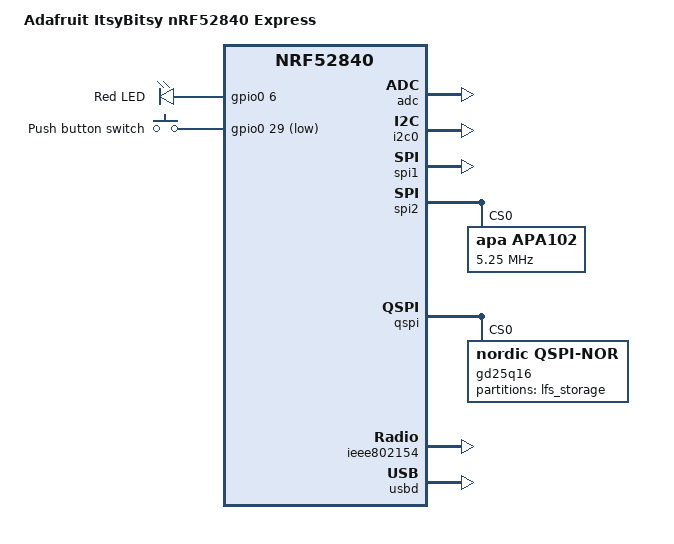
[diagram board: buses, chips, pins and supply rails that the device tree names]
/*
 * Copyright (c) 2022 Embla Flatlandsmo <embla.flatlandsmo@gmail.com>
 *
 * SPDX-License-Identifier: Apache-2.0
 */

/dts-v1/;
#include <nordic/nrf52840_qiaa.dtsi>
#include "adafruit_itsybitsy_nrf52840-pinctrl.dtsi"
#include <zephyr/dt-bindings/input/input-event-codes.h>

/ {
	model = "Adafruit ItsyBitsy nRF52840 Express";
	compatible = "adafruit,itsybitsy-nrf52840";

	chosen {
		zephyr,console = &cdc_acm_uart0;
		zephyr,shell-uart = &cdc_acm_uart0;
		zephyr,uart-mcumgr = &cdc_acm_uart0;
		zephyr,bt-mon-uart = &cdc_acm_uart0;
		zephyr,bt-c2h-uart = &cdc_acm_uart0;
		zephyr,sram = &sram0;
		zephyr,flash = &flash0;
		zephyr,code-partition = &code_partition;
		zephyr,ieee802154 = &ieee802154;
	};

	leds {
		compatible = "gpio-leds";
		led0: led_0 {
			gpios = <&gpio0 6 GPIO_ACTIVE_HIGH>;
			label = "Red LED";
		};
	};

	buttons {
		compatible = "gpio-keys";
		button0: button_0 {
			gpios = <&gpio0 29 (GPIO_PULL_UP | GPIO_ACTIVE_LOW)>;
			label = "Push button switch";
			zephyr,code = <INPUT_KEY_0>;
		};
	};

	/* These aliases are provided for compatibility with samples */
	aliases {
		led0 = &led0;
		sw0 = &button0;
		watchdog0 = &wdt0;
		spi-flash0 = &gd25q16;
	};
};

&adc {
	status = "okay";
};

&uicr {
	gpio-as-nreset;
};

&gpiote {
	status = "okay";
};

&gpio0 {
	status = "okay";
};

&gpio1 {
	status = "okay";
};

&uart0 {
	compatible = "nordic,nrf-uarte";
	current-speed = <115200>;
	status = "disabled";
	pinctrl-0 = <&uart0_default>;
	pinctrl-1 = <&uart0_sleep>;
	pinctrl-names = "default", "sleep";
};

&i2c0 {
	compatible = "nordic,nrf-twi";
	status = "okay";
	pinctrl-0 = <&i2c0_default>;
	pinctrl-1 = <&i2c0_sleep>;
	pinctrl-names = "default", "sleep";
};

&spi1 {
	compatible = "nordic,nrf-spi";
	status = "okay";
	pinctrl-0 = <&spi1_default>;
	pinctrl-1 = <&spi1_sleep>;
	pinctrl-names = "default", "sleep";
};

&spi2 {
	compatible = "nordic,nrf-spi";
	status = "okay";
	pinctrl-0 = <&spi2_default>;
	pinctrl-1 = <&spi2_sleep>;
	pinctrl-names = "default", "sleep";
	apa102: apa102@0 {
		compatible = "apa,apa102";
		reg = <0>;
		spi-max-frequency = <5250000>;
	};
};

&qspi {
	status = "okay";
	pinctrl-0 = <&qspi_default>;
	pinctrl-1 = <&qspi_sleep>;
	pinctrl-names = "default", "sleep";
	gd25q16: gd25q16@0 {
		compatible = "nordic,qspi-nor";
		reg = <0>;
		writeoc = "pp4o";
		readoc = "read4io";
		sck-frequency = <32000000>;
		jedec-id = [c8 40 15];
		size = <16777216>;
		has-dpd;
		t-enter-dpd = <20000>;
		t-exit-dpd = <20000>;
		quad-enable-requirements = "S2B1v1";
	};
};

&ieee802154 {
	status = "okay";
};

&flash0 {
	partitions {
		compatible = "fixed-partitions";
		#address-cells = <1>;
		#size-cells = <1>;

		/* To enable flashing with UF2 bootloader, we
		 * must reserve a partition for SoftDevice.
		 * See https://learn.adafruit.com/introducing-the-adafruit-nrf52840-feather?view=all#hathach-memory-map
		 */
		reserved_partition_0: partition@0 {
			label = "SoftDevice";
			reg = <0x000000000 DT_SIZE_K(152)>;
		};
		code_partition: partition@26000 {
			label = "Application";
			reg = <0x00026000 DT_SIZE_K(796)>;
		};

		/*
		 * The flash starting at 0x000ed000 and ending at
		 * 0x000f4000 is reserved for use by the application.
		 */
		storage_partition: partition@ed000 {
			label = "storage";
			reg = <0x0000ed000 DT_SIZE_K(28)>;
		};

		boot_partition: partition@f4000 {
			label = "UF2";
			reg = <0x000f4000 DT_SIZE_K(48)>;
		};
	};
};

&gd25q16 {
	partitions {
		compatible = "fixed-partitions";
		#address-cells = <1>;
		#size-cells = <1>;
		lfs_partition: partition@0 {
			label = "lfs_storage";
			reg = <0x00000000 DT_SIZE_M(2)>;
		};
	};
};

zephyr_udc0: &usbd {
	compatible = "nordic,nrf-usbd";
	status = "okay";

	cdc_acm_uart0: cdc_acm_uart0 {
		compatible = "zephyr,cdc-acm-uart";
	};
};
